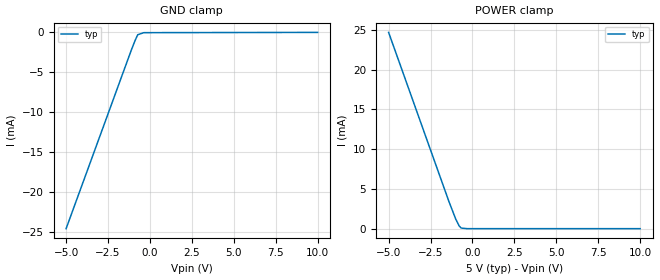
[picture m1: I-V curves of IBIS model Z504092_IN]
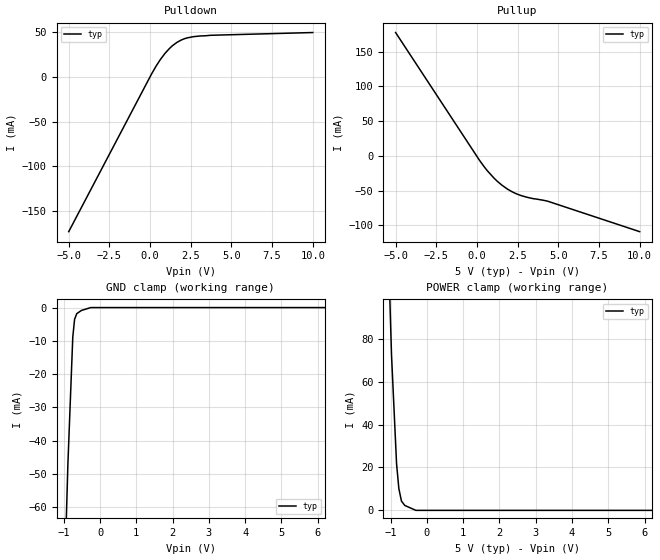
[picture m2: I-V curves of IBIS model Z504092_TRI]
| YOU ARE ONLY AUTHORIZED TO USE THIS SOFTWARE
| ACCORDING TO LICENSOR'S LICENSE RESTRICTIONS.
[IBIS Ver] 3.1
[File Name] mc54hc366j.ibs
[File Rev] 2.0
[Source] Measured and created by ICX Technology
[Date] Friday 7/14/00 9:08:06 AM
[Copyright]
| (C) COPYRIGHT 1993-2000
| MENTOR GRAPHICS CORPORATION
| ICX STANDARD LIBRARY, ICX PROJECT MODELING,
| ICX CUSTOM MODELING, ICX VENDOR MODEL
| ALL RIGHTS RESERVED.
| THE FOLLOWING ARE TRADEMARKS OR SERVICE MARKS OF
| MENTOR GRAPHICS CORPORATION:ICX (R), ICX STANDARD
| LIBRARY(R), ICX PROJECT MODELING(R), ICX CUSTOM
| MODELING(R), qualityIBIS(TM), MODELVIEWER(TM),
| AND MODELEDITOR(TM)
| ALL COPIES OF SOFTWARE, INCLUDING BUT NOT LIMITED TO
| ANY MODIFICATIONS, ENHANCEMENTS OR DERIVATIVE WORKS,
| MUST CONTAIN ALL MENTOR GRAPHICS CORPORATION'S
| NOTICES AND LEGENDS, INCLUDING THOSE EMBEDDED IN
| SOFTWARE AND THOSE AFFIXED TO SOFTWARE MEDIUM
| AND CONTAINER, AS RECEIVED FROM MENTOR GRAPHICS
| CORPORATION.
|  ZAP Model Builder 2.7
[Component] MC54HC366J
[Manufacturer] OnSemiconductor
[Package]
| variable   typ   min   max
R_pkg  .212ohms NA NA
L_pkg  4.758nH NA NA
C_pkg  1.944pF NA NA
[Pin] signal_name  model_name  R_pin  L_pin C_pin
1 _G1 Z504092_IN .224 7.258n 2.683p
2 A0 Z504092_IN .216 5.258n 2.19p
3 _Y0 Z504092_TRI .208 3.758n 1.697p
4 A1 Z504092_IN .2 2.758n 1.204p
5 _Y1 Z504092_TRI .2 2.758n 1.204p
6 A2 Z504092_IN .208 3.758n 1.697p
7 _Y2 Z504092_TRI .216 5.258n 2.19p
8 GND GND .224 7.258n 2.683p
9 _Y3 Z504092_TRI .224 7.258n 2.683p
10 A3 Z504092_IN .216 5.258n 2.19p
11 _Y4 Z504092_TRI .208 3.758n 1.697p
12 A4 Z504092_IN .2 2.758n 1.204p
13 _Y5 Z504092_TRI .2 2.758n 1.204p
14 A5 Z504092_IN .208 3.758n 1.697p
15 _G2 Z504092_IN .216 5.258n 2.19p
16 VCC POWER .224 7.258n 2.683p
| Models and submodels in the file (2): Z504092_IN (Input), Z504092_TRI (3-state)
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| (C) COPYRIGHT 1993-2000
| MENTOR GRAPHICS CORPORATION
| ICX STANDARD LIBRARY, ICX PROJECT MODELING,
| ICX CUSTOM MODELING, ICX VENDOR MODEL
| ALL RIGHTS RESERVED.
| THE FOLLOWING ARE TRADEMARKS OR SERVICE MARKS OF
| MENTOR GRAPHICS CORPORATION:ICX (R), ICX STANDARD
| LIBRARY(R), ICX PROJECT MODELING(R), ICX CUSTOM
| MODELING(R), qualityIBIS(TM), MODELVIEWER(TM),
| AND MODELEDITOR(TM)
| ALL COPIES OF SOFTWARE, INCLUDING BUT NOT LIMITED TO
| ANY MODIFICATIONS, ENHANCEMENTS OR DERIVATIVE WORKS,
| MUST CONTAIN ALL MENTOR GRAPHICS CORPORATION'S
| NOTICES AND LEGENDS, INCLUDING THOSE EMBEDDED IN
| SOFTWARE AND THOSE AFFIXED TO SOFTWARE MEDIUM
| AND CONTAINER, AS RECEIVED FROM MENTOR GRAPHICS
| CORPORATION.
| Model Application Version 1.89 2/18/99.
[Model] Z504092_IN
Model_type Input
Vinl = 1.000V
Vinh = 3.500V
C_comp 4.000pF NA NA
| variable typ   min   max
[Voltage Range] 5.000V NA NA
[GND Clamp Reference] 0.000V NA NA
[POWER Clamp Reference] 5.000V NA NA
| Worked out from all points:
|   GND clamp passes 1 mA (typ) near -0.88 V on its own axis
|   POWER clamp passes 1 mA (typ) near -0.95 V on its own axis
[GND Clamp]
-5V       -24.62mA   NA         NA
-1.127V   -2.301mA   NA         NA
-878.4mV  -967.7uA   NA         NA
-728.3mV  -282.3uA   NA         NA
-364.1mV  -20.65uA   NA         NA
10V       11.98uA    NA         NA
[POWER Clamp]
-5V       24.68mA    NA         NA
-1.397V   3.382mA    NA         NA
-1.001V   1.23mA     NA         NA
-791mV    339.8uA    NA         NA
-671mV    77.1uA     NA         NA
-335.5mV  0A         NA         NA
10V       0A         NA         NA
| (C) COPYRIGHT 1993-2000
| MENTOR GRAPHICS CORPORATION
| ICX STANDARD LIBRARY, ICX PROJECT MODELING,
| ICX CUSTOM MODELING, ICX VENDOR MODEL
| ALL RIGHTS RESERVED.
| THE FOLLOWING ARE TRADEMARKS OR SERVICE MARKS OF
| MENTOR GRAPHICS CORPORATION:ICX (R), ICX STANDARD
| LIBRARY(R), ICX PROJECT MODELING(R), ICX CUSTOM
| MODELING(R), qualityIBIS(TM), MODELVIEWER(TM),
| AND MODELEDITOR(TM)
| ALL COPIES OF SOFTWARE, INCLUDING BUT NOT LIMITED TO
| ANY MODIFICATIONS, ENHANCEMENTS OR DERIVATIVE WORKS,
| MUST CONTAIN ALL MENTOR GRAPHICS CORPORATION'S
| NOTICES AND LEGENDS, INCLUDING THOSE EMBEDDED IN
| SOFTWARE AND THOSE AFFIXED TO SOFTWARE MEDIUM
| AND CONTAINER, AS RECEIVED FROM MENTOR GRAPHICS
| CORPORATION.
| Model Application Version 1.89 2/18/99.
[Model] Z504092_TRI
Model_type 3-state
Vref=0.000V
Rref=500.0Mohms
Cref=50.00pF
Vmeas=2.500V
C_comp 8.000pF NA NA
| variable typ   min   max
[Voltage Range] 5.000V NA NA
[POWER Clamp Reference] 5.000V NA NA
[Pullup Reference] 5.000V NA NA
[Pulldown Reference] 0.000V NA NA
[GND Clamp Reference] 0.000V NA NA
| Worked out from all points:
|   slope of the pulldown table from 0 to 0.75 V, typ, clamps not added: 33.9 ohm
|   slope of the pullup table from 0 to 0.75 V, typ, clamps not added: 31.8 ohm
|   GND clamp passes 1 mA (typ) near -0.53 V on its own axis
[GND Clamp]
-5V       -1.889A    NA         NA
-1.025V   -99.53mA   NA         NA
-886.1mV  -46.93mA   NA         NA
-752mV    -8.908mA   NA         NA
-702.2mV  -3.521mA   NA         NA
-641.5mV  -1.821mA   NA         NA
-512.6mV  -861.5uA   NA         NA
-256.3mV  0A         NA         NA
10V       0A         NA         NA
[Pulldown]
-5V       -172.9mA   NA         NA
83.08mV   2.973mA    NA         NA
625.5mV   19.2mA     NA         NA
915mV     26.2mA     NA         NA
1.368V    34.73mA    NA         NA
1.661V    38.67mA    NA         NA
2.134V    42.78mA    NA         NA
3.091V    45.71mA    NA         NA
10V       49.55mA    NA         NA
[Pullup]
-5V       177.7mA    NA         NA
156mV     -6.435mA   NA         NA
656mV     -22.01mA   NA         NA
1.064V    -32.52mA   NA         NA
1.554V    -42.66mA   NA         NA
2.144V    -51.62mA   NA         NA
2.714V    -57.31mA   NA         NA
4.341V    -65.38mA   NA         NA
10V       -109.3mA   NA         NA
[POWER Clamp]
-5V       2.777A     NA         NA
-1.182V   189.3mA    NA         NA
-977mV    72.68mA    NA         NA
-837mV    21.64mA    NA         NA
-774mV    10.13mA    NA         NA
-702mV    4.3mA      NA         NA
-610mV    2.285mA    NA         NA
-305mV    0A         NA         NA
10V       0A         NA         NA
[Ramp]
| variable typ min max
dV/dt_r 2.851/2.486n NA NA
dV/dt_f 2.851/1.563n NA NA
R_load = 500.0Ohms
